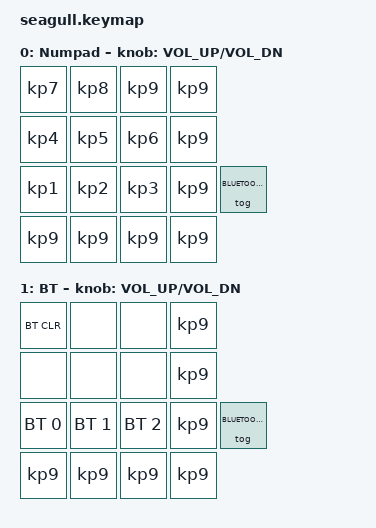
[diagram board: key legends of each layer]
#include <behaviors.dtsi>
#include <dt-bindings/zmk/keys.h>
#include <dt-bindings/zmk/bt.h>
    
#define NUMPAD 0
#define BLUETOOTH 1 

/ {
    keymap {

        compatible = "zmk,keymap";
      
    layer_numpad {
        display-name = "Numpad"; 

    // +---------------------------+                      
    // |   7  |   8  |   9  |   *  |                      
    // +------+------+------+------+
    // |   4  |   5  |   6  |   /  |                      
    // +------+------+------+------+-------+     
    // |   1  |   2  |   3  |   *  | L-BT  |                     
    // +------+------+------+------+-------+    
    // |   0  |   .  |  +   |   =  |                          
    // +------+------+------+------+  
                                        

    bindings = <   

        &kp KP_N7       &kp KP_N8        &kp KP_N9    &kp KP_N9      
        &kp KP_N4       &kp KP_N5        &kp KP_N6      &kp KP_N9    
        &kp KP_N1       &kp KP_N2        &kp KP_N3     &kp KP_N9        &tog BLUETOOTH 
          &kp KP_N9   &kp KP_N9      &kp KP_N9   &kp KP_N9  
        >;

        sensor-bindings = <&inc_dec_kp C_VOL_UP C_VOL_DN>;
    };

    layer_bluetooth {     
        display-name = "BT"; 
  
    // +---------------------------+                      
    // |CLEAR |      |      |BTLDR |                      
    // +------+------+------+------+
    // |      |      |      |      |                      
    // +------+------+------+------+-------+     
    // | PF1  | PF2  |  PF3 |      | L-BT  |                      
    // +------+------+------+------+-------+    
    // |      |      |      |      |                          
    // +------+------+------+------+     
                                       

    bindings = <   

        &bt BT_CLR      &none         &none     &kp KP_N9        
        &none           &none         &none      &kp KP_N9       
        &bt BT_SEL 0    &bt BT_SEL 1  &bt BT_SEL 2   &kp KP_N9          &tog BLUETOOTH                         
        &kp KP_N9        &kp KP_N9   &kp KP_N9  &kp KP_N9  
        >;

        sensor-bindings = <&inc_dec_kp C_VOL_UP C_VOL_DN>;
    };
};
};
